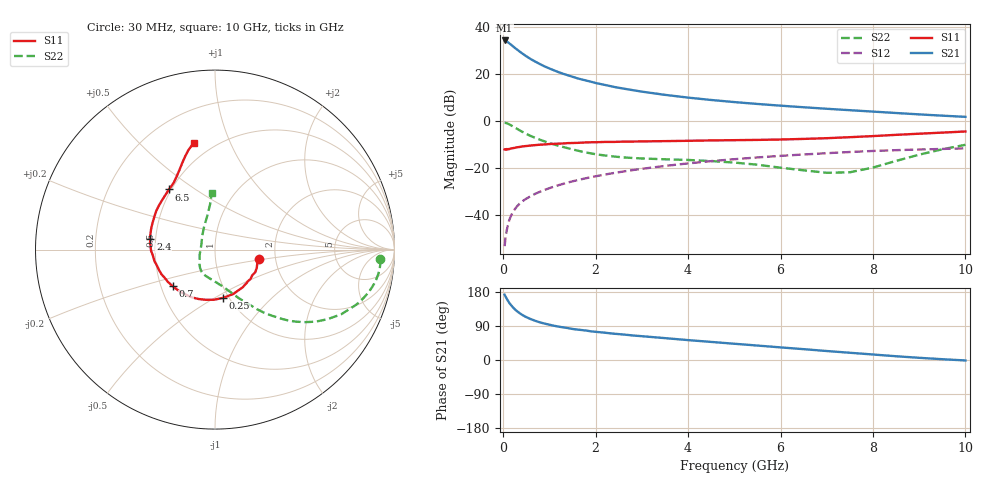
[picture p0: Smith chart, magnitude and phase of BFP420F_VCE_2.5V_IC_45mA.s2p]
! Infineon Technologies  Discrete & RF Semiconductors
! BFP420F
! VCE =  2.5 V,  IC =  45 mA
! Common Emitter S-Parameters:  Sep 2011
# GHz  S  MA  R  50
!  f  S11  S21  S12  S22
! GHz  MAG  ANG  MAG  ANG  MAG  ANG  MAG  ANG
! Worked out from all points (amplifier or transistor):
!   54 points, 30 MHz to 10 GHz, reference 50 ohm
!   highest |S21| = 34.4 dB at 30 MHz (marker M1)
!   |S21| within 3 dB of that: start of sweep to 242.2 MHz
!   unconditionally stable (mu >= 1): 1.283 GHz to end of sweep
!   at 120 MHz: K = 0.41, MSG = 38.1 dB, |S12| = -42.9 dB
!   at 1.3 GHz: K = 1.00, MAG = 23.0 dB, |S12| = -26.6 dB
!   at 10 GHz: K = 1.22, MAG = 3.9 dB, |S12| = -11.5 dB
!   S11 on the Smith chart (normalised r, x): 30 MHz: 1.64, -0.18; 250 MHz: 0.94, -0.55; 700 MHz: 0.58, -0.26; 2.4 GHz: 0.47, +0.06; 6.5 GHz: 0.49, +0.40; 10 GHz: 0.39, +0.74
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0.03  0.2515 -11.7  52.59 172.3  0.0022 92.8  0.9235 -3.4
0.05  0.2479 -18.3  51.41 167.3  0.0034 84.4  0.9237 -7.0
0.07  0.2554 -26.9  50.6 163.1  0.0044 86.2  0.914 -10.4
0.08  0.2574 -29.3  49.65 160.8  0.005 84.2  0.9074 -12.0
0.12  0.2542 -44.5  46.8 152.7  0.0072 79.9  0.8721 -17.8
0.15  0.2606 -53.2  44.2 147.6  0.0089 78.5  0.8417 -21.6
0.2  0.2675 -67.8  40.33 140.4  0.0113 76.2  0.7897 -27.2
0.25  0.2725 -80.4  36.68 134.0  0.0134 73.6  0.7373 -31.7
0.35  0.2842 -100.2  30.83 124.0  0.0175 71.0  0.6463 -38.7
0.45  0.2951 -114.9  26.21 116.3  0.021 69.3  0.573 -43.8
0.6  0.3055 -131.1  20.98 107.7  0.0257 68.3  0.4843 -49.4
0.7  0.312 -139.1  18.5 103.1  0.0289 68.0  0.4414 -52.4
0.9  0.3218 -151.0  14.68 96.0  0.0348 67.8  0.3719 -57.1
1.1  0.3317 -159.7  12.15 90.4  0.0408 67.6  0.321 -61.7
1.7  0.3511 -176.6  7.769 79.0  0.0587 66.4  0.2265 -74.3
2.4  0.3643 171.0  5.389 69.3  0.0796 63.7  0.1781 -90.2
3.5  0.3787 156.9  3.657 57.7  0.1123 58.2  0.1554 -109.5
5.5  0.4019 138.0  2.341 38.1  0.1702 45.5  0.1192 -136.4
6.5  0.4221 127.4  1.991 28.6  0.1968 38.7  0.0905 -161.3
7  0.4372 121.8  1.849 23.7  0.2096 35.2  0.0802 179.4
8.5  0.5151 110.8  1.502 9.9  0.2432 24.1  0.1435 114.8
10  0.6076 101.1  1.244 -1.2  0.2655 14.7  0.3161 93.2
